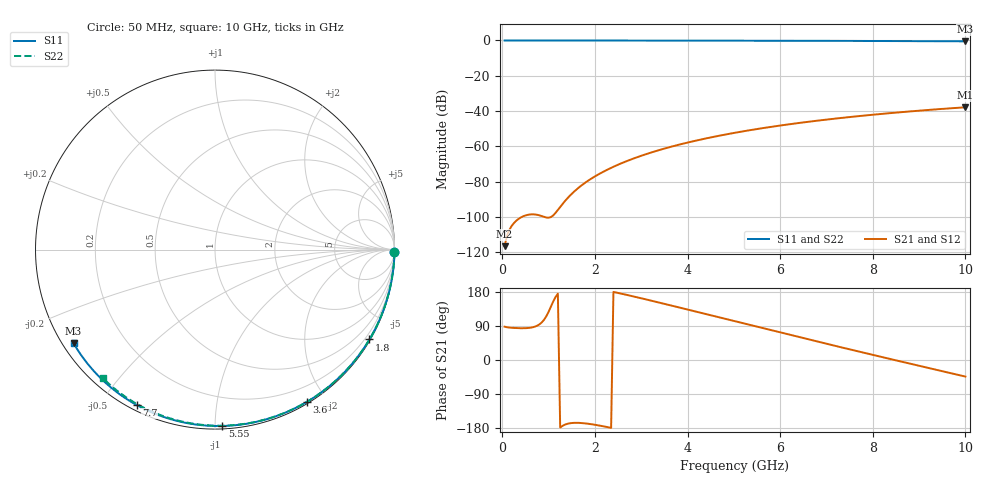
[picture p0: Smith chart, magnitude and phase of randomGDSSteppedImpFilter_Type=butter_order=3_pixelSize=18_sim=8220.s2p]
! freq	dB(S11)	phase(S11)	dB(S12)	phase(S12)
!  dB(S21)	phase(S21)	dB(S22)	phase(S22)
!S-par simulation data
#  GHz  S  DB  R 50
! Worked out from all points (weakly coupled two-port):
!   200 points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, 50 MHz to 10 GHz, reference 50 ohm
!   highest |S21| = -37.88 dB at 10 GHz (marker M1); lowest = -116.6 dB at 50 MHz (marker M2)
!   lowest |S11| = -0.5 dB at 10 GHz (marker M3), VSWR 35.23, Z = 1.55 - j15 ohm
!   |S11| at or under -10 dB: nowhere
!   |S22| runs from -0.4 to 0.0 dB; largest |S21 - S12| = 0
!   S11 on the Smith chart (normalised r, x): 50 MHz: open; 1.8 GHz: 0.03, -3.71; 3.6 GHz: 0.02, -1.77; 5.55 GHz: 0.02, -1.04; 7.7 GHz: 0.02, -0.61; 10 GHz: 0.03, -0.30
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0.05  -0.00 -0.9  -116.64 87.9  -116.64 87.9  -0.00 -0.8
0.45  -0.01 -7.7  -99.71 83.8  -99.71 83.8  -0.01 -6.8
0.9  -0.02 -15.3  -100.01 105.9  -100.01 105.9  -0.02 -13.6
1.3  -0.03 -21.9  -92.73 -173.9  -92.73 -173.9  -0.02 -19.5
1.75  -0.04 -29.4  -81.41 -166.8  -81.41 -166.8  -0.03 -26.2
1.8  -0.04 -30.2  -80.47 -167.4  -80.47 -167.4  -0.03 -26.9
1.85  -0.04 -31.0  -79.57 -168.1  -79.57 -168.1  -0.04 -27.6
2.05  -0.04 -34.3  -76.31 -172.0  -76.31 -172.0  -0.04 -30.5
2.2  -0.05 -36.7  -74.18 -175.4  -74.18 -175.4  -0.04 -32.7
2.55  -0.05 -42.4  -69.88 175.6  -69.88 175.6  -0.05 -37.8
2.95  -0.06 -48.7  -65.84 164.4  -65.84 164.4  -0.06 -43.5
3.4  -0.07 -55.8  -62.06 151.2  -62.06 151.2  -0.07 -49.8
3.6  -0.08 -58.9  -60.57 145.2  -60.57 145.2  -0.07 -52.6
4.3  -0.10 -69.5  -56.10 124.1  -56.10 124.1  -0.09 -62.1
5.05  -0.12 -80.5  -52.21 101.3  -52.21 101.3  -0.11 -72.1
5.55  -0.14 -87.6  -50.01 86.2  -50.01 86.2  -0.13 -78.5
6.1  -0.17 -95.3  -47.87 69.6  -47.87 69.6  -0.15 -85.5
6.7  -0.20 -103.5  -45.81 51.7  -45.81 51.7  -0.18 -92.9
7.7  -0.27 -116.8  -42.88 22.3  -42.88 22.3  -0.24 -104.9
8.35  -0.32 -125.3  -41.26 3.4  -41.26 3.4  -0.29 -112.4
9.2  -0.40 -136.2  -39.40 -21.0  -39.40 -21.0  -0.36 -122.1
10  -0.49 -146.5  -37.88 -43.8  -37.88 -43.8  -0.44 -131.2
